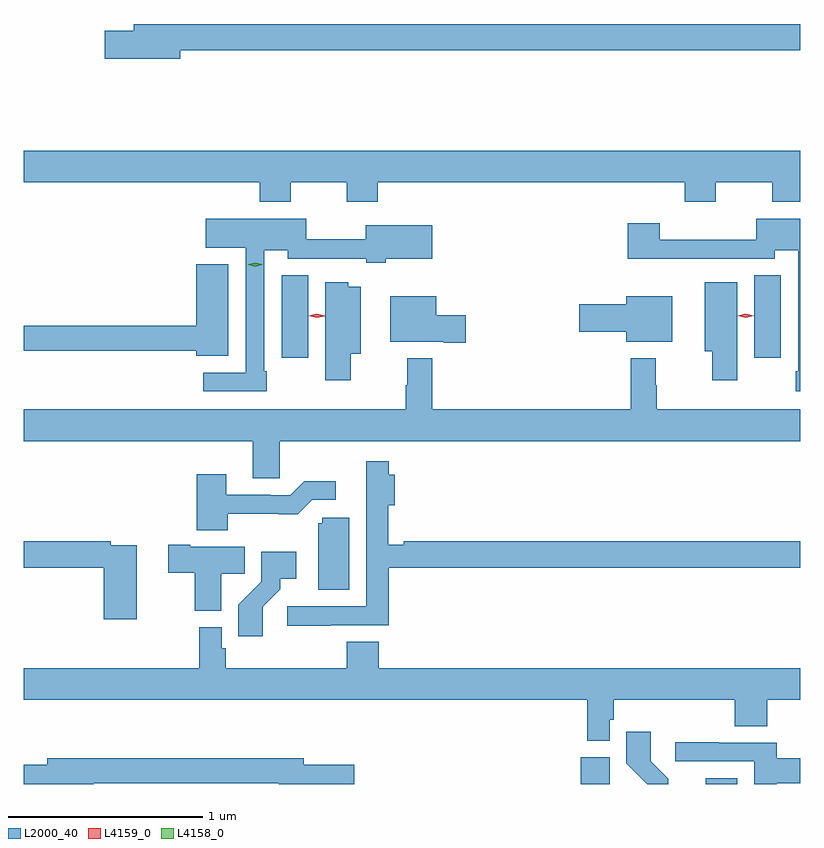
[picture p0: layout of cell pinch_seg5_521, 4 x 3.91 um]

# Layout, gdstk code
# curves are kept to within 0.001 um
import gdstk
lib = gdstk.Library(unit=1e-6, precision=1e-09)
def R(c, l, rs):  # rectangles x0, y0, x1, y1
    for r in rs: c.add(gdstk.rectangle(r[:2], r[2:], *l))
def P(c, l, *ps):  # polygons
    for p in ps: c.add(gdstk.Polygon(p, *l))
L2000_40 = (2000, 40)
L4158_0 = (4158, 0)
L4159_0 = (4159, 0)

pinch_seg5_521 = lib.new_cell('pinch_seg5_521')
R(pinch_seg5_521, L2000_40, [(889.508,840.343,889.657,840.481), (890.153,840.343,890.314,840.373), (887.969,842.538,888.106,842.963), (890.402,842.538,890.539,842.963)])
P(pinch_seg5_521, L2000_40, [(887.446,844.12),(890.64,844.12),(890.64,844.256),(887.207,844.256),(887.207,844.22),(887.058,844.22),(887.058,844.078),(887.446,844.078)],
  [(888.015,843.44),(888.304,843.44),(888.304,843.341),(888.464,843.341),(888.464,843.44),(890.045,843.44),(890.045,843.341),(890.205,843.341),(890.205,843.44),(890.494,843.44),(890.494,843.341),(890.64,843.341),(890.64,843.604),(886.64,843.604),(886.64,843.44),(887.855,843.44),(887.855,843.341),(888.015,843.341)],
  [(890.64,843.253),(890.412,843.253),(890.412,843.146),(889.916,843.146),(889.916,843.229),(889.751,843.229),(889.751,843.047),(889.999,843.047),(889.999,843.048),(890.508,843.048),(890.508,843.092),(890.628,843.092),(890.628,842.467),(890.616,842.467),(890.616,842.364),(890.64,842.364)],
  [(887.893,842.467),(887.88,842.467),(887.88,843.092),(888,843.092),(888,843.048),(888.405,843.048),(888.405,843.028),(888.505,843.028),(888.505,843.047),(888.745,843.047),(888.745,843.22),(888.401,843.22),(888.401,843.149),(888.096,843.149),(888.096,843.253),(887.577,843.253),(887.577,843.104),(887.784,843.104),(887.784,842.46),(887.565,842.46),(887.565,842.364),(887.893,842.364)],
  [(887.695,843.019),(887.528,843.019),(887.528,842.702),(886.64,842.702),(886.64,842.574),(887.528,842.574),(887.528,842.549),(887.695,842.549)],
  [(888.324,842.558),(888.376,842.558),(888.376,842.902),(888.312,842.902),(888.312,842.926),(888.194,842.926),(888.194,842.421),(888.324,842.421)],
  [(890.314,842.926),(890.147,842.926),(890.147,842.57),(890.185,842.57),(890.185,842.421),(890.314,842.421)],
  [(888.916,842.756),(888.766,842.756),(888.766,842.854),(888.527,842.854),(888.527,842.621),(888.803,842.621),(888.803,842.614),(888.916,842.614)],
  [(889.981,842.854),(889.742,842.854),(889.742,842.813),(889.5,842.813),(889.5,842.671),(889.742,842.671),(889.742,842.621),(889.981,842.621)],
  [(887.958,842.108),(890.64,842.108),(890.64,842.272),(889.901,842.272),(889.901,842.396),(889.894,842.396),(889.894,842.536),(889.765,842.536),(889.765,842.272),(888.743,842.272),(888.743,842.536),(888.615,842.536),(888.615,842.396),(888.607,842.396),(888.607,842.272),(886.64,842.272),(886.64,842.108),(887.819,842.108),(887.819,841.918),(887.958,841.918)],
  [(888.221,841.161),(888.521,841.161),(888.521,841.456),(890.64,841.456),(890.64,841.592),(888.598,841.592),(888.598,841.574),(888.517,841.574),(888.517,841.778),(888.551,841.778),(888.551,841.936),(888.521,841.936),(888.521,842.005),(888.404,842.005),(888.404,841.782),(888.405,841.782),(888.405,841.257),(887.997,841.257),(887.997,841.159),(888.221,841.159)],
  [(887.691,841.734),(888.053,841.733),(888.126,841.806),(888.247,841.806),(888.247,841.903),(888.085,841.903),(888.012,841.83),(887.912,841.83),(887.912,841.833),(887.683,841.833),(887.683,841.939),(887.531,841.939),(887.531,841.649),(887.691,841.649)],
  [(888.316,841.713),(888.177,841.713),(888.177,841.686),(888.158,841.686),(888.158,841.342),(888.316,841.342)],
  [(887.224,841.572),(887.09,841.572),(887.09,841.592),(886.64,841.592),(886.64,841.456),(887.054,841.456),(887.054,841.191),(887.224,841.191)],
  [(887.659,841.426),(887.78,841.426),(887.78,841.564),(887.497,841.564),(887.497,841.576),(887.385,841.576),(887.385,841.43),(887.522,841.43),(887.522,841.235),(887.659,841.235)],
  [(887.872,841.255),(887.962,841.345),(887.962,841.4),(888.043,841.4),(888.043,841.54),(887.865,841.54),(887.865,841.385),(887.746,841.266),(887.746,841.104),(887.872,841.104)],
  [(888.47,841.076),(888.305,841.076),(888.305,840.94),(887.681,840.94),(887.681,841.041),(887.661,841.041),(887.661,841.15),(887.545,841.15),(887.545,840.94),(886.64,840.94),(886.64,840.776),(889.543,840.776),(889.543,840.566),(889.659,840.566),(889.659,840.675),(889.679,840.675),(889.679,840.776),(890.303,840.776),(890.303,840.64),(890.468,840.64),(890.468,840.776),(890.64,840.776),(890.64,840.94),(888.47,840.94)],
  [(889.96,840.371),(889.87,840.461),(889.87,840.613),(889.744,840.613),(889.744,840.45),(889.851,840.343),(889.96,840.343)],
  [(890.519,840.346),(890.64,840.346),(890.64,840.475),(890.519,840.475),(890.519,840.555),(890.219,840.555),(890.219,840.558),(889.995,840.558),(889.995,840.459),(890.403,840.459),(890.403,840.343),(890.519,840.343)],
  [(887.002,840.346),(887.954,840.346),(887.954,840.343),(888.343,840.343),(888.343,840.441),(888.082,840.441),(888.082,840.475),(886.763,840.475),(886.763,840.441),(886.64,840.441),(886.64,840.343),(887.002,840.343)])
P(pinch_seg5_521, L4158_0, [(887.833,843.007),(887.798,843.017),(887.798,843.017),(887.798,843.018),(887.833,843.027),(887.868,843.018),(887.868,843.017),(887.868,843.017)])
P(pinch_seg5_521, L4159_0, [(890.358,842.744),(890.318,842.753),(890.317,842.754),(890.318,842.754),(890.358,842.764),(890.399,842.754),(890.399,842.754),(890.399,842.753)],
  [(888.149,842.743),(888.109,842.753),(888.109,842.754),(888.109,842.754),(888.15,842.763),(888.19,842.753),(888.19,842.753),(888.19,842.752)])

lib.write_gds('pinch_seg5_521.gds')
